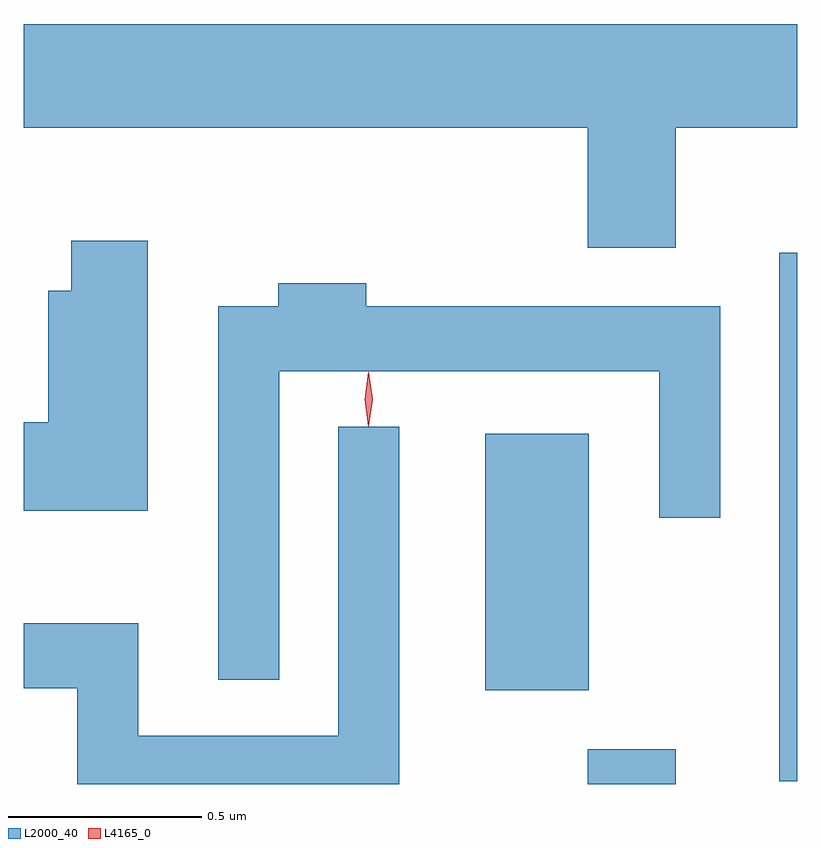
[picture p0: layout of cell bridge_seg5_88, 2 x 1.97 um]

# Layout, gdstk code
import gdstk
lib = gdstk.Library(unit=1e-6, precision=1e-09)
def R(c, l, rs):  # rectangles x0, y0, x1, y1
    for r in rs: c.add(gdstk.rectangle(r[:2], r[2:], *l))
def P(c, l, *ps):  # polygons
    for p in ps: c.add(gdstk.Polygon(p, *l))
L2000_40 = (2000, 40)
L4165_0 = (4165, 0)

bridge_seg5_88 = lib.new_cell('bridge_seg5_88')
R(bridge_seg5_88, L2000_40, [(1191.581,1501.719,1191.809,1501.809), (1192.076,1501.726,1192.123,1503.093), (1191.316,1501.961,1191.584,1502.624)])
P(bridge_seg5_88, L2000_40, [(1191.809,1503.416),(1192.123,1503.416),(1192.123,1503.684),(1190.123,1503.684),(1190.123,1503.416),(1191.581,1503.416),(1191.581,1503.106),(1191.809,1503.106)],
  [(1190.444,1503.124),(1190.246,1503.124),(1190.246,1502.994),(1190.186,1502.994),(1190.186,1502.654),(1190.123,1502.654),(1190.123,1502.426),(1190.444,1502.426)],
  [(1190.784,1502.786),(1191.766,1502.786),(1191.766,1502.408),(1191.924,1502.408),(1191.924,1502.954),(1191.009,1502.954),(1191.009,1503.014),(1190.781,1503.014),(1190.781,1502.954),(1190.626,1502.954),(1190.626,1501.988),(1190.784,1501.988)],
  [(1191.094,1502.643),(1190.936,1502.643),(1190.936,1501.844),(1190.419,1501.844),(1190.419,1502.134),(1190.123,1502.134),(1190.123,1501.966),(1190.261,1501.966),(1190.261,1501.719),(1191.094,1501.719)])
P(bridge_seg5_88, L4165_0, [(1191.014,1502.647),(1191.005,1502.714),(1191.014,1502.78),(1191.015,1502.781),(1191.015,1502.78),(1191.025,1502.714),(1191.015,1502.647),(1191.015,1502.647)],
  [(1191.014,1502.644),(1191.005,1502.714),(1191.014,1502.783),(1191.015,1502.783),(1191.015,1502.783),(1191.025,1502.714),(1191.015,1502.644),(1191.015,1502.644)])

lib.write_gds('bridge_seg5_88.gds')
